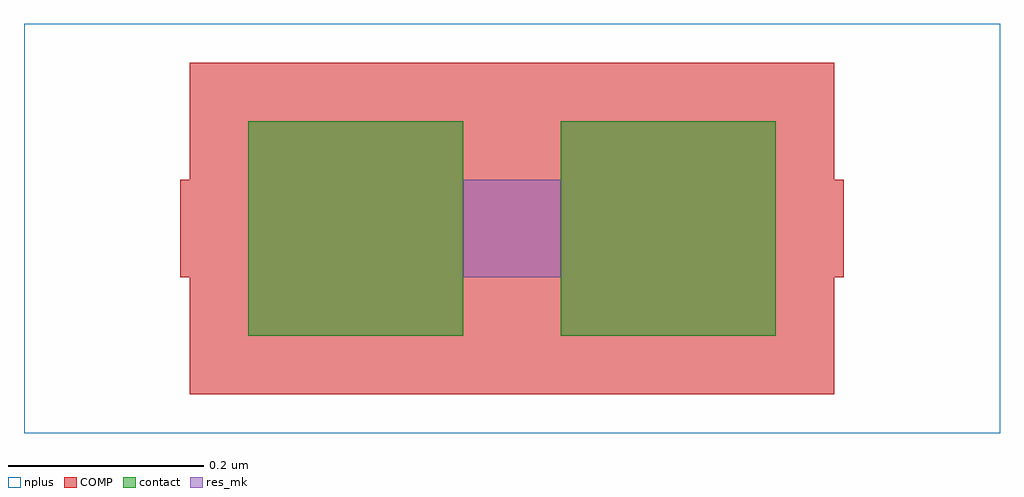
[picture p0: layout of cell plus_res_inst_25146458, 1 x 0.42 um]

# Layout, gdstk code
import gdstk
lib = gdstk.Library(unit=1e-6, precision=1e-09)
def R(c, l, rs):  # rectangles x0, y0, x1, y1
    for r in rs: c.add(gdstk.rectangle(r[:2], r[2:], *l))
COMP = (22, 0)
nplus = (32, 0)
contact = (33, 0)
res_mk = (110, 5)

compass_43289b1a = lib.new_cell('compass_43289b1a')
R(compass_43289b1a, res_mk, [(-0.05,-0.05,0.05,0.05)])

rectangle_43289b1a = lib.new_cell('rectangle_43289b1a')
rectangle_43289b1a.add(gdstk.Reference(compass_43289b1a, (0.05,0.05)))

compass_4f43b44d = lib.new_cell('compass_4f43b44d')
R(compass_4f43b44d, COMP, [(-0.34,-0.05,0.34,0.05)])

rectangle_4f43b44d = lib.new_cell('rectangle_4f43b44d')
rectangle_4f43b44d.add(gdstk.Reference(compass_4f43b44d, (0.34,0.05)))

compass_f38dc993 = lib.new_cell('compass_f38dc993')
R(compass_f38dc993, contact, [(-0.11,-0.11,0.11,0.11)])

rectangle_f38dc993 = lib.new_cell('rectangle_f38dc993')
rectangle_f38dc993.add(gdstk.Reference(compass_f38dc993, (0.11,0.11)))

via_generator_9abf2eb8 = lib.new_cell('via_generator_9abf2eb8')
r = gdstk.Reference(rectangle_f38dc993, (-0.22,-0.06)); r.repetition = gdstk.Repetition(1, 1, v1=(0.5,0), v2=(0,0.5)); via_generator_9abf2eb8.add(r)

compass_9deecdff = lib.new_cell('compass_9deecdff')
R(compass_9deecdff, COMP, [(-0.17,-0.17,0.17,0.17)])

rectangle_9deecdff = lib.new_cell('rectangle_9deecdff')
rectangle_9deecdff.add(gdstk.Reference(compass_9deecdff, (0.17,0.17)))

via_stack_c47a4d99 = lib.new_cell('via_stack_c47a4d99')
via_stack_c47a4d99.add(gdstk.Reference(via_generator_9abf2eb8, (0,0)))
via_stack_c47a4d99.add(gdstk.Reference(rectangle_9deecdff, (-0.28,-0.12)))

compass_814de1e8 = lib.new_cell('compass_814de1e8')
R(compass_814de1e8, nplus, [(-0.5,-0.21,0.5,0.21)])

rectangle_814de1e8 = lib.new_cell('rectangle_814de1e8')
rectangle_814de1e8.add(gdstk.Reference(compass_814de1e8, (0.5,0.21)))

plus_res_inst_25146458 = lib.new_cell('plus_res_inst_25146458')
plus_res_inst_25146458.add(gdstk.Reference(rectangle_43289b1a, (0,0)))
plus_res_inst_25146458.add(gdstk.Reference(rectangle_4f43b44d, (-0.29,0)))
r = gdstk.Reference(via_stack_c47a4d99, (0,0)); r.repetition = gdstk.Repetition(2, 1, v1=(0.32,0), v2=(0,1)); plus_res_inst_25146458.add(r)
plus_res_inst_25146458.add(gdstk.Reference(rectangle_814de1e8, (-0.45,-0.16)))

lib.write_gds('plus_res_inst_25146458.gds')
